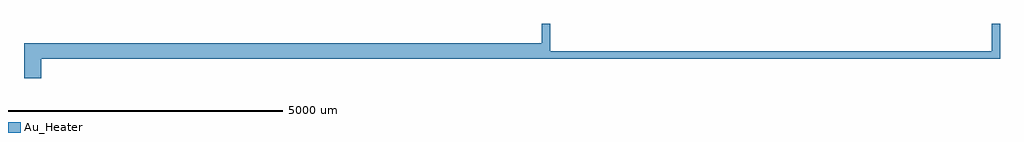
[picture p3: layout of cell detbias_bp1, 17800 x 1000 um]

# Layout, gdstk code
import gdstk
lib = gdstk.Library(unit=1e-6, precision=1e-09)
def P(c, l, *ps):  # polygons
    for p in ps: c.add(gdstk.Polygon(p, *l))
Au_Heater = (9, 0)

detbias_bp1 = lib.new_cell('detbias_bp1')
P(detbias_bp1, Au_Heater, [(-38257.5,53800),(-38257.5,54442),(-28812.5,54442),(-28812.5,54800),(-28807.5,54800),(-28807.5,54437),(-38252.5,54437),(-38252.5,53800)],
  [(-38247.5,53800),(-38247.5,54433),(-28802.5,54433),(-28802.5,54800),(-28797.5,54800),(-28797.5,54428),(-38242.5,54428),(-38242.5,53800)],
  [(-38237.5,53800),(-38237.5,54424),(-28792.5,54424),(-28792.5,54800),(-28787.5,54800),(-28787.5,54419),(-38232.5,54419),(-38232.5,53800)],
  [(-38227.5,53800),(-38227.5,54415),(-28782.5,54415),(-28782.5,54800),(-28777.5,54800),(-28777.5,54410),(-38222.5,54410),(-38222.5,53800)],
  [(-38217.5,53800),(-38217.5,54406),(-28772.5,54406),(-28772.5,54800),(-28767.5,54800),(-28767.5,54401),(-38212.5,54401),(-38212.5,53800)],
  [(-38207.5,53800),(-38207.5,54397),(-28762.5,54397),(-28762.5,54800),(-28757.5,54800),(-28757.5,54392),(-38202.5,54392),(-38202.5,53800)],
  [(-38197.5,53800),(-38197.5,54388),(-28752.5,54388),(-28752.5,54800),(-28747.5,54800),(-28747.5,54383),(-38192.5,54383),(-38192.5,53800)],
  [(-38187.5,53800),(-38187.5,54379),(-28742.5,54379),(-28742.5,54800),(-28737.5,54800),(-28737.5,54374),(-38182.5,54374),(-38182.5,53800)],
  [(-38177.5,53800),(-38177.5,54370),(-28732.5,54370),(-28732.5,54800),(-28727.5,54800),(-28727.5,54365),(-38172.5,54365),(-38172.5,53800)],
  [(-38167.5,53800),(-38167.5,54361),(-28722.5,54361),(-28722.5,54800),(-28717.5,54800),(-28717.5,54356),(-38162.5,54356),(-38162.5,53800)],
  [(-38157.5,53800),(-38157.5,54352),(-28712.5,54352),(-28712.5,54800),(-28707.5,54800),(-28707.5,54347),(-38152.5,54347),(-38152.5,53800)],
  [(-38147.5,53800),(-38147.5,54343),(-28702.5,54343),(-28702.5,54800),(-28697.5,54800),(-28697.5,54338),(-38142.5,54338),(-38142.5,53800)],
  [(-38137.5,53800),(-38137.5,54334),(-28692.5,54334),(-28692.5,54800),(-28687.5,54800),(-28687.5,54329),(-38132.5,54329),(-38132.5,53800)],
  [(-38127.5,53800),(-38127.5,54325),(-28682.5,54325),(-28682.5,54800),(-28677.5,54800),(-28677.5,54320),(-38122.5,54320),(-38122.5,53800)],
  [(-38117.5,53800),(-38117.5,54316),(-28672.5,54316),(-28672.5,54800),(-28667.5,54800),(-28667.5,54311),(-38112.5,54311),(-38112.5,53800)],
  [(-38107.5,53800),(-38107.5,54307),(-28662.5,54307),(-28662.5,54800),(-28657.5,54800),(-28657.5,54302),(-38102.5,54302),(-38102.5,53800)],
  [(-38097.5,53800),(-38097.5,54298),(-20612.5,54298),(-20612.5,54800),(-20607.5,54800),(-20607.5,54293),(-38092.5,54293),(-38092.5,53800)],
  [(-38087.5,53800),(-38087.5,54289),(-20602.5,54289),(-20602.5,54800),(-20597.5,54800),(-20597.5,54284),(-38082.5,54284),(-38082.5,53800)],
  [(-38077.5,53800),(-38077.5,54280),(-20592.5,54280),(-20592.5,54800),(-20587.5,54800),(-20587.5,54275),(-38072.5,54275),(-38072.5,53800)],
  [(-38067.5,53800),(-38067.5,54271),(-20582.5,54271),(-20582.5,54800),(-20577.5,54800),(-20577.5,54266),(-38062.5,54266),(-38062.5,53800)],
  [(-38057.5,53800),(-38057.5,54262),(-20572.5,54262),(-20572.5,54800),(-20567.5,54800),(-20567.5,54257),(-38052.5,54257),(-38052.5,53800)],
  [(-38047.5,53800),(-38047.5,54253),(-20562.5,54253),(-20562.5,54800),(-20557.5,54800),(-20557.5,54248),(-38042.5,54248),(-38042.5,53800)],
  [(-38037.5,53800),(-38037.5,54244),(-20552.5,54244),(-20552.5,54800),(-20547.5,54800),(-20547.5,54239),(-38032.5,54239),(-38032.5,53800)],
  [(-38027.5,53800),(-38027.5,54235),(-20542.5,54235),(-20542.5,54800),(-20537.5,54800),(-20537.5,54230),(-38022.5,54230),(-38022.5,53800)],
  [(-38017.5,53800),(-38017.5,54226),(-20532.5,54226),(-20532.5,54800),(-20527.5,54800),(-20527.5,54221),(-38012.5,54221),(-38012.5,53800)],
  [(-38007.5,53800),(-38007.5,54217),(-20522.5,54217),(-20522.5,54800),(-20517.5,54800),(-20517.5,54212),(-38002.5,54212),(-38002.5,53800)],
  [(-37997.5,53800),(-37997.5,54208),(-20512.5,54208),(-20512.5,54800),(-20507.5,54800),(-20507.5,54203),(-37992.5,54203),(-37992.5,53800)],
  [(-37987.5,53800),(-37987.5,54199),(-20502.5,54199),(-20502.5,54800),(-20497.5,54800),(-20497.5,54194),(-37982.5,54194),(-37982.5,53800)],
  [(-37977.5,53800),(-37977.5,54190),(-20492.5,54190),(-20492.5,54800),(-20487.5,54800),(-20487.5,54185),(-37972.5,54185),(-37972.5,53800)],
  [(-37967.5,53800),(-37967.5,54181),(-20482.5,54181),(-20482.5,54800),(-20477.5,54800),(-20477.5,54176),(-37962.5,54176),(-37962.5,53800)],
  [(-37957.5,53800),(-37957.5,54172),(-20472.5,54172),(-20472.5,54800),(-20467.5,54800),(-20467.5,54167),(-37952.5,54167),(-37952.5,53800)],
  [(-37947.5,53800),(-37947.5,54163),(-20462.5,54163),(-20462.5,54800),(-20457.5,54800),(-20457.5,54158),(-37942.5,54158),(-37942.5,53800)])

lib.write_gds('detbias_bp1.gds')
